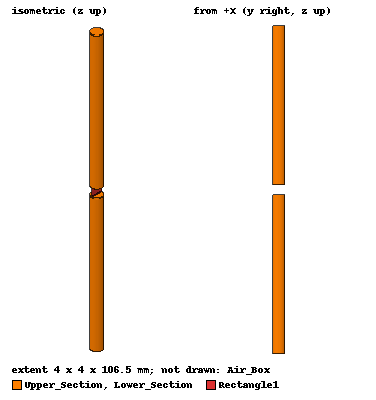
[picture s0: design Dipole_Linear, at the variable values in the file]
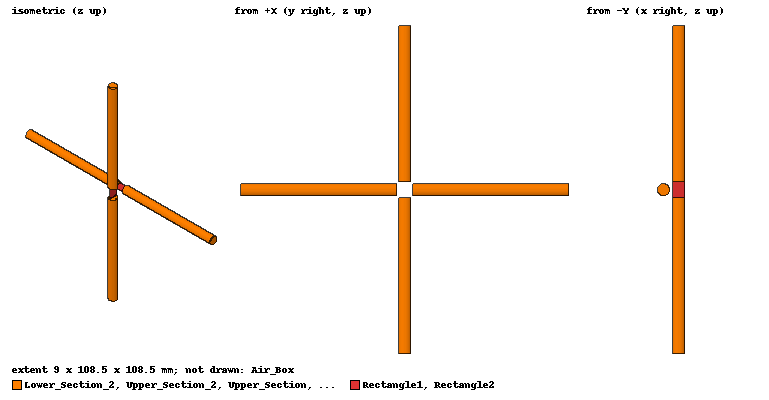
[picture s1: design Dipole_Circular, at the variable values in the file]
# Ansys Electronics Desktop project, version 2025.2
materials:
  vacuum: permittivity=1
  copper: permeability=0.999991 conductivity=58000000

design Dipole_Linear (HFSS, HFSS Modal Network, model units mm)
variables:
  G1 = 3mm
  R1 = 2mm
  L1 = (37.5*1.38) mm
  lambda = 300mm
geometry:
  Upper_Section [copper] = cylinder(axis=Z, base_centre=(0mm, 0mm, G1/2), radius=R1, height=L1)
  Lower_Section [copper] = Upper_Section.duplicate_mirror(point=(0mm, 0mm, 0mm), normal=(0mm, 0mm, 1mm))
  Rectangle1 = rectangle(corner=(-R1, 0mm, -G1/2), z_size=G1, x_size=2*R1)
  Air_Box [vacuum] = box(corner=(-lambda/4, -lambda/4, -L1 - lambda/4), size=(lambda/2, lambda/2, 2*L1 + lambda/2))
  Polyline1 = polyline((0mm, R1, -(L1+G1/2)) (0mm, R1, L1+G1/2))
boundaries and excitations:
  Rad1: Radiation Objects=Air_Box
  1: Lumped Port Objects=Rectangle1 LumpedPortType=Modal Modes{Mode1{IntLine{(0, 0, -1.5) -> (0, 0, 1.5)} CharImp=Zpi}} Impedance=50ohm
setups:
  Setup1: HfssDriven Frequency=2GHz MaxDeltaS=0.02 MaximumPasses=20 MinimumPasses=1 MinimumConvergedPasses=1 PercentRefinement=30 BasisOrder=1 PortAccuracy=2 DrivenSolverType="Direct Solver"
    sweep Sweep: 1.5GHz to 2.5GHz, 401 points; Type=Interpolating InterpTolerance=0.5 InterpMaxSolns=250 InterpUsePortImped=false PassivityErrorTolerance=0.0001
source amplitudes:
  1:1: 1W 0deg
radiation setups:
  Infinite Sphere: Infinite Sphere Theta=-180deg..180deg step 2deg Phi=-180deg..180deg step 2deg
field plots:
  Mag_Jsurf1: Jsurf on Setup1 : LastAdaptive at Freq=2GHz Phase=0deg
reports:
  E plane: dB(GainTotal) vs Theta on Setup1 : LastAdaptive, Infinite Sphere [Phi=0deg Freq=2GHz]; markers m1 at 90deg
  H plane: dB(GainTotal) vs Phi on Setup1 : LastAdaptive, Infinite Sphere [Theta=90deg Freq=2GHz]; markers m1 at 0deg
  Gain Plot1: dB(GainTotal) vs Phi, Theta on Setup1 : LastAdaptive, Infinite Sphere [Freq=2GHz]
  Current along line: Mag_Jsurf vs Distance on Setup1 : LastAdaptive [Freq=1GHz Phase=0deg]
  Axial Ratio Plot1: dB(AxialRatioValue) vs Phi, Theta on Setup1 : LastAdaptive, Infinite Sphere [Freq=1GHz]
  Z Parameter Plot3: re(Z(1,1)), im(Z(1,1)) vs Freq on Setup1 : Sweep
  S Parameter Plot1: dB(S(1,1)) vs Freq on Setup1 : Sweep
  Directivity Plot1: dB(DirTotal) vs Phi, Theta on Setup1 : LastAdaptive, Infinite Sphere [Freq=2GHz]

design Dipole_Circular (HFSS, HFSS Modal Network, model units mm)
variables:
  G1 = 5mm
  R1 = 2mm
  L1 = (37.5*1.38) mm
  lambda = 300mm
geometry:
  Upper_Section [copper] = cylinder(axis=Z, base_centre=(0mm, 0mm, G1/2), radius=R1, height=L1)
  Lower_Section [copper] = Upper_Section.duplicate_mirror(point=(0mm, 0mm, 0mm), normal=(0mm, 0mm, 1mm))
  Rectangle1 = rectangle(corner=(-R1, 0mm, -G1/2), z_size=G1, x_size=2*R1)
  Air_Box [vacuum] = box(corner=(-lambda/4, -L1 -lambda/4, -L1 - lambda/4), size=(lambda/2, 2*L1 + lambda/2, 2*L1 + lambda/2))
  Polyline1 = polyline((0mm, R1, -(L1+G1/2)) (0mm, R1, L1+G1/2))
  Lower_Section_2 [copper] = Lower_Section.duplicate_around_axis(axis=X, angle=90deg, total=2)
  Upper_Section_2 [copper] = Upper_Section.duplicate_around_axis(axis=X, angle=90deg, total=2)
  Polyline1_1 = Polyline1.duplicate_around_axis(axis=X, angle=90deg, total=2)
  Rectangle2 = Rectangle1.duplicate_around_axis(axis=X, angle=90deg, total=2)
  [Rectangle2, Lower_Section_2, Upper_Section_2].move(-5mm, 0mm, 0mm)
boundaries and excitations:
  Rad1: Radiation Objects=Air_Box
  1: Lumped Port Objects=Rectangle1 LumpedPortType=Modal Modes{Mode1{IntLine{(0, 0, -2.5) -> (0, 0, 2.5)} CharImp=Zpi}} Impedance=50ohm
  2: Lumped Port Objects=Rectangle2 LumpedPortType=Modal Modes{Mode1{IntLine{(-5, 2.5, 0) -> (-5, -2.5, 0)} CharImp=Zpi}} Impedance=50ohm
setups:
  Setup1: HfssDriven Frequency=1GHz MaxDeltaS=0.02 MaximumPasses=20 MinimumPasses=1 MinimumConvergedPasses=1 PercentRefinement=30 BasisOrder=1 PortAccuracy=2 DrivenSolverType="Direct Solver"
    sweep Sweep: 1.5GHz to 2.5GHz, 401 points; Type=Interpolating InterpTolerance=0.5 InterpMaxSolns=250 InterpUsePortImped=false PassivityErrorTolerance=0.0001
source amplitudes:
  1:1: 1W 0deg
  2:1: 1W 90deg
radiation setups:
  Infinite Sphere: Infinite Sphere Theta=-180deg..180deg step 2deg Phi=-180deg..180deg step 2deg
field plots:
  Mag_Jsurf1, Mag_Jsurf2: Jsurf on Setup1 : LastAdaptive at Freq=1GHz Phase=0deg
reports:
  E plane: dB(GainTotal) vs Theta on Setup1 : LastAdaptive, Infinite Sphere [Phi=0deg Freq=1GHz]
  H plane: dB(GainTotal) vs Phi on Setup1 : LastAdaptive, Infinite Sphere [Theta=90deg Freq=1GHz]
  Gain Plot1: dB(GainTotal) vs Phi, Theta on Setup1 : LastAdaptive, Infinite Sphere [Freq=1GHz]
  Z Parameter Plot1: re(Z(1,1)), im(Z(1,1)) vs Freq on Setup1 : Sweep; markers MX1 at x=1.0228188e+09
  Current along line: Mag_Jsurf vs Distance on Setup1 : LastAdaptive [Freq=1GHz Phase=0deg]
  Axial Ratio Plot1: dB(AxialRatioValue) vs Phi, Theta on Setup1 : LastAdaptive, Infinite Sphere [Freq=1GHz]
  Polarization Ratio Plot1: dB(PolarizationRatioCircularLHCP) vs Phi, Theta on Setup1 : LastAdaptive, Infinite Sphere [Freq=1GHz]
  Polarization Ratio Plot2: dB(PolarizationRatioCircularRHCP) vs Phi, Theta on Setup1 : LastAdaptive, Infinite Sphere [Freq=1GHz]
